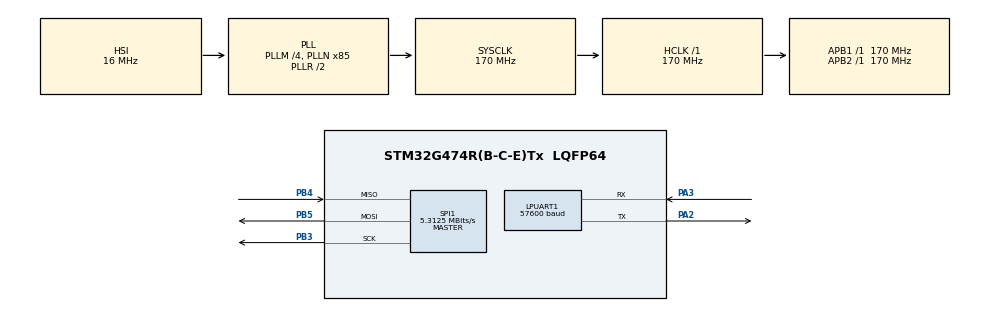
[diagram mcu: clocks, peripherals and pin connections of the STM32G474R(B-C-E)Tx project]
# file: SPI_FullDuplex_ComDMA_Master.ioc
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Dma.Request0=SPI1_TX
Dma.Request1=SPI1_RX
Dma.SPI1_RX.1.Direction=DMA_PERIPH_TO_MEMORY
Dma.SPI1_RX.1.EventEnable=DISABLE
Dma.SPI1_RX.1.Instance=DMA1_Channel2
Dma.SPI1_RX.1.MemDataAlignment=DMA_MDATAALIGN_BYTE
Dma.SPI1_RX.1.MemInc=DMA_MINC_ENABLE
Dma.SPI1_RX.1.Mode=DMA_NORMAL
Dma.SPI1_RX.1.PeriphDataAlignment=DMA_PDATAALIGN_BYTE
Dma.SPI1_RX.1.PeriphInc=DMA_PINC_DISABLE
Dma.SPI1_RX.1.Polarity=HAL_DMAMUX_REQ_GEN_RISING
Dma.SPI1_RX.1.Priority=DMA_PRIORITY_HIGH
Dma.SPI1_RX.1.RequestNumber=1
Dma.SPI1_RX.1.SignalID=NONE
Dma.SPI1_RX.1.SyncEnable=DISABLE
Dma.SPI1_RX.1.SyncPolarity=HAL_DMAMUX_SYNC_NO_EVENT
Dma.SPI1_RX.1.SyncRequestNumber=1
Dma.SPI1_RX.1.SyncSignalID=NONE
Dma.SPI1_TX.0.Direction=DMA_MEMORY_TO_PERIPH
Dma.SPI1_TX.0.EventEnable=DISABLE
Dma.SPI1_TX.0.Instance=DMA1_Channel3
Dma.SPI1_TX.0.MemDataAlignment=DMA_MDATAALIGN_BYTE
Dma.SPI1_TX.0.MemInc=DMA_MINC_ENABLE
Dma.SPI1_TX.0.Mode=DMA_NORMAL
Dma.SPI1_TX.0.PeriphDataAlignment=DMA_PDATAALIGN_BYTE
Dma.SPI1_TX.0.PeriphInc=DMA_PINC_DISABLE
Dma.SPI1_TX.0.Polarity=HAL_DMAMUX_REQ_GEN_RISING
Dma.SPI1_TX.0.Priority=DMA_PRIORITY_LOW
Dma.SPI1_TX.0.RequestNumber=1
Dma.SPI1_TX.0.SignalID=NONE
Dma.SPI1_TX.0.SyncEnable=DISABLE
Dma.SPI1_TX.0.SyncPolarity=HAL_DMAMUX_SYNC_NO_EVENT
Dma.SPI1_TX.0.SyncRequestNumber=1
Dma.SPI1_TX.0.SyncSignalID=NONE
LPUART1.BaudRate=57600
Mcu.Family=STM32G4
Mcu.Name=STM32G474R(B-C-E)Tx
Mcu.Package=LQFP64
NVIC.DMA1_Channel2_IRQn=true\:0\:0\:false\:false\:true\:true\:true\:true
NVIC.DMA1_Channel3_IRQn=true\:0\:0\:false\:false\:true\:true\:true\:true
NVIC.PriorityGroup=NVIC_PRIORITYGROUP_4
PA2.Mode=Asynchronous
PA2.Signal=LPUART1_TX
PA3.Mode=Asynchronous
PA3.Signal=LPUART1_RX
PB3.Mode=Full_Duplex_Master
PB3.Signal=SPI1_SCK
PB4.Mode=Full_Duplex_Master
PB4.Signal=SPI1_MISO
PB5.GPIO_PuPd=GPIO_PULLDOWN
PB5.Mode=Full_Duplex_Master
PB5.Signal=SPI1_MOSI
ProjectManager.HeapSize=0x200
ProjectManager.StackSize=0x400
ProjectManager.TargetToolchain=STM32CubeIDE
RCC.ADC12Freq_Value=170000000
RCC.ADC345Freq_Value=170000000
RCC.AHBFreq_Value=170000000
RCC.APB1Freq_Value=170000000
RCC.APB1TimFreq_Value=170000000
RCC.APB2Freq_Value=170000000
RCC.APB2TimFreq_Value=170000000
RCC.CortexFreq_Value=170000000
RCC.EXTERNAL_CLOCK_VALUE=12288000
RCC.HCLKFreq_Value=170000000
RCC.HSE_VALUE=24000000
RCC.HSI48_VALUE=48000000
RCC.HSI_VALUE=16000000
RCC.LSE_VALUE=32768
RCC.PLLM=RCC_PLLM_DIV4
RCC.PLLN=85
RCC.SYSCLKFreq_VALUE=170000000
RCC.SYSCLKSource=RCC_SYSCLKSOURCE_PLLCLK
RCC.USBFreq_Value=170000000
RCC.VCOOutputFreq_Value=340000000
SPI1.BaudRatePrescaler=SPI_BAUDRATEPRESCALER_32
SPI1.CLKPhase=SPI_PHASE_1EDGE
SPI1.CLKPolarity=SPI_POLARITY_LOW
SPI1.CRCCalculation=SPI_CRCCALCULATION_DISABLE
SPI1.CalculateBaudRate=5.3125 MBits/s
SPI1.DataSize=SPI_DATASIZE_8BIT
SPI1.Direction=SPI_DIRECTION_2LINES
SPI1.FirstBit=SPI_FIRSTBIT_MSB
SPI1.GPIO_SPEED=GPIO_SPEED_FREQ_VERY_HIGH
SPI1.Mode=SPI_MODE_MASTER
SPI1.NSS=SPI_NSS_SOFT
SPI1.NSSPMode=SPI_NSS_PULSE_DISABLE
SPI1.TIMode=SPI_TIMODE_DISABLE
SPI1.VirtualType=VM_MASTER
VP_SYS_VS_DBSignals.Mode=DisableDeadBatterySignals
board=NUCLEO-G474RE

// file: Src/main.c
/* USER CODE BEGIN Header */
/**
  ******************************************************************************
  * @file    SPI/SPI_FullDuplex_ComDMA_Master/Src/main.c
  * @author  MCD Application Team
  * @brief   This sample code shows how to use STM32G4xx SPI HAL API to transmit
  *          and receive a data buffer with a communication process based on
  *          DMA transfer.
  *          The communication is done using 2 Boards.
  ******************************************************************************
  * @attention
  *
  * Copyright (c) 2019 STMicroelectronics.
  * All rights reserved.
  *
  * This software is licensed under terms that can be found in the LICENSE file
  * in the root directory of this software component.
  * If no LICENSE file comes with this software, it is provided AS-IS.
  *
  ******************************************************************************
  */
/* USER CODE END Header */
#include "main.h"

/* USER CODE BEGIN Includes */

#include <stdio.h> // add in main.c

/* USER CODE END Includes */

/* USER CODE BEGIN PD */
enum
{
  TRANSFER_WAIT,
  TRANSFER_COMPLETE,
  TRANSFER_ERROR
};
/* USER CODE END PD */

 UART_HandleTypeDef hlpuart1;

SPI_HandleTypeDef hspi1;
DMA_HandleTypeDef hdma_spi1_tx;
DMA_HandleTypeDef hdma_spi1_rx;

/* USER CODE BEGIN PV */
/* Buffer used for transmission */
uint8_t aTxBuffer[] = "****SPI - Two Boards communication based on DMA **** SPI Message ******** SPI Message ******** SPI Message ****";

/* Buffer used for reception */
uint8_t aRxBuffer[BUFFERSIZE];

/* transfer state */
__IO uint32_t wTransferState = TRANSFER_WAIT;

/* USER CODE END PV */

void SystemClock_Config(void);
static void MX_GPIO_Init(void);
static void MX_DMA_Init(void);
static void MX_SPI1_Init(void);
static void MX_LPUART1_UART_Init(void);
/* USER CODE BEGIN PFP */
static uint16_t Buffercmp(uint8_t *pBuffer1, uint8_t *pBuffer2, uint16_t BufferLength);

#define PUTCHAR_PROTOTYPE int __io_putchar(int ch)

/* USER CODE END PFP */

int main(void)
{
  /* USER CODE BEGIN 1 */

  /* STM32G4xx HAL library initialization:
       - Configure the Flash prefetch
       - Systick timer is configured by default as source of time base, but user
         can eventually implement his proper time base source (a general purpose
         timer for example or other time source), keeping in mind that Time base
         duration should be kept 1ms since PPP_TIMEOUT_VALUEs are defined and
         handled in milliseconds basis.
       - Set NVIC Group Priority to 4
       - Low Level Initialization
     */
  /* USER CODE END 1 */

  /* MCU Configuration--------------------------------------------------------*/

  /* Reset of all peripherals, Initializes the Flash interface and the Systick. */
  HAL_Init();

  /* Configure the system clock */
  SystemClock_Config();

  /* Initialize all configured peripherals */
  MX_GPIO_Init();
  MX_DMA_Init();
  MX_SPI1_Init();
  MX_LPUART1_UART_Init();
  /* USER CODE BEGIN 2 */

  printf("Starting >> SPI_FullDuplex_ComDMA_Master \n");

  /* Configure LED2 */
  BSP_LED_Init(LED2);

  /* Configure User push-button button */
  BSP_PB_Init(BUTTON_USER, BUTTON_MODE_GPIO);
  /* Wait for User push-button press before starting the Communication */
//  while (BSP_PB_GetState(BUTTON_USER) != GPIO_PIN_SET)
//  {
//    BSP_LED_Toggle(LED2);
//    HAL_Delay(100);
//  }
  BSP_LED_Off(LED2);

  // ===========================================

  /*##-1- Start the Full Duplex Communication process ########################*/
  /* While the SPI in TransmitReceive process, user can transmit data through
     "aTxBuffer" buffer & receive data through "aRxBuffer" */
  if (HAL_SPI_TransmitReceive_DMA(&hspi1, (uint8_t *)aTxBuffer, (uint8_t *)aRxBuffer, BUFFERSIZE) != HAL_OK)
  {
    /* Transfer error in transmission process */
    Error_Handler();
  }

  /*##-2- Wait for the end of the transfer ###################################*/
  /*  Before starting a new communication transfer, you must wait the callback call
      to get the transfer complete confirmation or an error detection.
      For simplicity reasons, this example is just waiting till the end of the
      transfer, but application may perform other tasks while transfer operation
      is ongoing. */
  while (wTransferState == TRANSFER_WAIT)
  {
  }

  switch (wTransferState)
  {
    case TRANSFER_COMPLETE :
      /*##-3- Compare the sent and received buffers ##############################*/
//      if (Buffercmp((uint8_t *)aTxBuffer, (uint8_t *)aRxBuffer, BUFFERSIZE))
//      {
//        /* Processing Error */
//        Error_Handler();
//      }
      break;
    default :
      Error_Handler();
      break;
  }

  wTransferState = TRANSFER_WAIT; // reset

  // ===========================================

  /*##-1- Start the Full Duplex Communication process ########################*/
  /* While the SPI in TransmitReceive process, user can transmit data through
     "aTxBuffer" buffer & receive data through "aRxBuffer" */
  if (HAL_SPI_TransmitReceive_DMA(&hspi1, (uint8_t *)aTxBuffer, (uint8_t *)aRxBuffer, BUFFERSIZE) != HAL_OK)
  {
    /* Transfer error in transmission process */
    Error_Handler();
  }

  /*##-2- Wait for the end of the transfer ###################################*/
  /*  Before starting a new communication transfer, you must wait the callback call
      to get the transfer complete confirmation or an error detection.
      For simplicity reasons, this example is just waiting till the end of the
      transfer, but application may perform other tasks while transfer operation
      is ongoing. */
  while (wTransferState == TRANSFER_WAIT)
  {
  }

  switch (wTransferState)
  {
    case TRANSFER_COMPLETE :
      /*##-3- Compare the sent and received buffers ##############################*/
//      if (Buffercmp((uint8_t *)aTxBuffer, (uint8_t *)aRxBuffer, BUFFERSIZE))
//      {
//        /* Processing Error */
//        Error_Handler();
//      }
      break;
    default :
      Error_Handler();
      break;
  }

  // ===========================================

  printf("Ending >> SPI_FullDuplex_ComDMA_Master \n");

  /* USER CODE END 2 */

  /* Infinite loop */
  while (1)
  {

  }
}

void SystemClock_Config(void)
{
  RCC_OscInitTypeDef RCC_OscInitStruct = {0};
  RCC_ClkInitTypeDef RCC_ClkInitStruct = {0};

  /** Configure the main internal regulator output voltage
  */
  HAL_PWREx_ControlVoltageScaling(PWR_REGULATOR_VOLTAGE_SCALE1_BOOST);

  /** Initializes the RCC Oscillators according to the specified parameters
  * in the RCC_OscInitTypeDef structure.
  */
  RCC_OscInitStruct.OscillatorType = RCC_OSCILLATORTYPE_HSI;
  RCC_OscInitStruct.HSIState = RCC_HSI_ON;
  RCC_OscInitStruct.HSICalibrationValue = RCC_HSICALIBRATION_DEFAULT;
  RCC_OscInitStruct.PLL.PLLState = RCC_PLL_ON;
  RCC_OscInitStruct.PLL.PLLSource = RCC_PLLSOURCE_HSI;
  RCC_OscInitStruct.PLL.PLLM = RCC_PLLM_DIV4;
  RCC_OscInitStruct.PLL.PLLN = 85;
  RCC_OscInitStruct.PLL.PLLP = RCC_PLLP_DIV2;
  RCC_OscInitStruct.PLL.PLLQ = RCC_PLLQ_DIV2;
  RCC_OscInitStruct.PLL.PLLR = RCC_PLLR_DIV2;
  if (HAL_RCC_OscConfig(&RCC_OscInitStruct) != HAL_OK)
  {
    Error_Handler();
  }

  /** Initializes the CPU, AHB and APB buses clocks
  */
  RCC_ClkInitStruct.ClockType = RCC_CLOCKTYPE_HCLK|RCC_CLOCKTYPE_SYSCLK
                              |RCC_CLOCKTYPE_PCLK1|RCC_CLOCKTYPE_PCLK2;
  RCC_ClkInitStruct.SYSCLKSource = RCC_SYSCLKSOURCE_PLLCLK;
  RCC_ClkInitStruct.AHBCLKDivider = RCC_SYSCLK_DIV1;
  RCC_ClkInitStruct.APB1CLKDivider = RCC_HCLK_DIV1;
  RCC_ClkInitStruct.APB2CLKDivider = RCC_HCLK_DIV1;

  if (HAL_RCC_ClockConfig(&RCC_ClkInitStruct, FLASH_LATENCY_4) != HAL_OK)
  {
    Error_Handler();
  }
}

static void MX_LPUART1_UART_Init(void)
{

  hlpuart1.Instance = LPUART1;
  hlpuart1.Init.BaudRate = 57600;
  hlpuart1.Init.WordLength = UART_WORDLENGTH_8B;
  hlpuart1.Init.StopBits = UART_STOPBITS_1;
  hlpuart1.Init.Parity = UART_PARITY_NONE;
  hlpuart1.Init.Mode = UART_MODE_TX_RX;
  hlpuart1.Init.HwFlowCtl = UART_HWCONTROL_NONE;
  hlpuart1.Init.OneBitSampling = UART_ONE_BIT_SAMPLE_DISABLE;
  hlpuart1.Init.ClockPrescaler = UART_PRESCALER_DIV1;
  hlpuart1.AdvancedInit.AdvFeatureInit = UART_ADVFEATURE_NO_INIT;
  if (HAL_UART_Init(&hlpuart1) != HAL_OK)
  {
    Error_Handler();
  }
  if (HAL_UARTEx_SetTxFifoThreshold(&hlpuart1, UART_TXFIFO_THRESHOLD_1_8) != HAL_OK)
  {
    Error_Handler();
  }
  if (HAL_UARTEx_SetRxFifoThreshold(&hlpuart1, UART_RXFIFO_THRESHOLD_1_8) != HAL_OK)
  {
    Error_Handler();
  }
  if (HAL_UARTEx_DisableFifoMode(&hlpuart1) != HAL_OK)
  {
    Error_Handler();
  }

}

static void MX_SPI1_Init(void)
{

  /* SPI1 parameter configuration*/
  hspi1.Instance = SPI1;
  hspi1.Init.Mode = SPI_MODE_MASTER;
  hspi1.Init.Direction = SPI_DIRECTION_2LINES;
  hspi1.Init.DataSize = SPI_DATASIZE_8BIT;
  hspi1.Init.CLKPolarity = SPI_POLARITY_LOW;
  hspi1.Init.CLKPhase = SPI_PHASE_1EDGE;
  hspi1.Init.NSS = SPI_NSS_SOFT;
  hspi1.Init.BaudRatePrescaler = SPI_BAUDRATEPRESCALER_32;
  hspi1.Init.FirstBit = SPI_FIRSTBIT_MSB;
  hspi1.Init.TIMode = SPI_TIMODE_DISABLE;
  hspi1.Init.CRCCalculation = SPI_CRCCALCULATION_DISABLE;
  hspi1.Init.CRCPolynomial = 7;
  hspi1.Init.CRCLength = SPI_CRC_LENGTH_DATASIZE;
  hspi1.Init.NSSPMode = SPI_NSS_PULSE_DISABLE;
  if (HAL_SPI_Init(&hspi1) != HAL_OK)
  {
    Error_Handler();
  }

}

static void MX_DMA_Init(void)
{

  /* DMA controller clock enable */
  __HAL_RCC_DMAMUX1_CLK_ENABLE();
  __HAL_RCC_DMA1_CLK_ENABLE();

  /* DMA interrupt init */
  /* DMA1_Channel2_IRQn interrupt configuration */
  HAL_NVIC_SetPriority(DMA1_Channel2_IRQn, 0, 0);
  HAL_NVIC_EnableIRQ(DMA1_Channel2_IRQn);
  /* DMA1_Channel3_IRQn interrupt configuration */
  HAL_NVIC_SetPriority(DMA1_Channel3_IRQn, 0, 0);
  HAL_NVIC_EnableIRQ(DMA1_Channel3_IRQn);

}

static void MX_GPIO_Init(void)
{

  /* GPIO Ports Clock Enable */
  __HAL_RCC_GPIOA_CLK_ENABLE();
  __HAL_RCC_GPIOB_CLK_ENABLE();

}

/* USER CODE BEGIN 4 */
/**
  * @brief  TxRx Transfer completed callback.
  * @param  hspi: SPI handle
  * @note   This example shows a simple way to report end of DMA TxRx transfer, and
  *         you can add your own implementation.
  * @retval None
  */
void HAL_SPI_TxRxCpltCallback(SPI_HandleTypeDef *hspi)
{
  /* Turn LED2 on: Transfer in transmission/reception process is complete */
  BSP_LED_On(LED2);
  wTransferState = TRANSFER_COMPLETE;
  printf("HAL_SPI_TxRxCpltCallback \n");
}

/**
  * @brief  SPI error callbacks.
  * @param  hspi: SPI handle
  * @note   This example shows a simple way to report transfer error, and you can
  *         add your own implementation.
  * @retval None
  */
void HAL_SPI_ErrorCallback(SPI_HandleTypeDef *hspi)
{
  wTransferState = TRANSFER_ERROR;
}

/**
  * @brief  Compares two buffers.
  * @param  pBuffer1, pBuffer2: buffers to be compared.
  * @param  BufferLength: buffer's length
  * @retval 0  : pBuffer1 identical to pBuffer2
  *         >0 : pBuffer1 differs from pBuffer2
  */
static uint16_t Buffercmp(uint8_t *pBuffer1, uint8_t *pBuffer2, uint16_t BufferLength)
{
  while (BufferLength--)
  {
    if ((*pBuffer1) != *pBuffer2)
    {
      return BufferLength;
    }
    pBuffer1++;
    pBuffer2++;
  }

  return 0;
}

PUTCHAR_PROTOTYPE {
	/* Place your implementation of fputc here */
	/* e.g. write a character to the LPUART1 and Loop until the end of transmission */
	HAL_UART_Transmit(&hlpuart1, (uint8_t*) &ch, 1, 0xFFFF);
//	HAL_UART_Transmit_DMA(&hlpuart1, (uint8_t*) &ch, 1);

	return ch;
}

/* USER CODE END 4 */

void Error_Handler(void)
{
  /* USER CODE BEGIN Error_Handler_Debug */
  /* User can add his own implementation to report the HAL error return state */
  BSP_LED_Off(LED2);
  BSP_LED_Off(LED2);
  while (1)
  {
    /* Toggle LED2 for error */
    BSP_LED_Toggle(LED2);
    HAL_Delay(1000);
  }
  /* USER CODE END Error_Handler_Debug */
}
